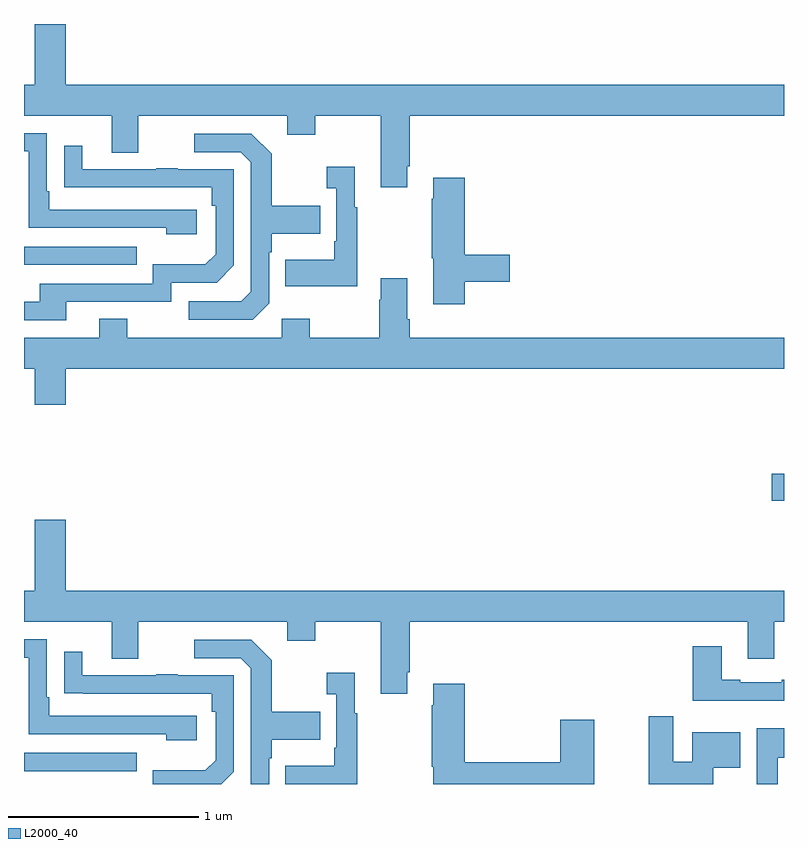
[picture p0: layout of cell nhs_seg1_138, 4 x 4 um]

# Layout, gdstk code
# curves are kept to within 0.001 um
import gdstk
lib = gdstk.Library(unit=1e-6, precision=1e-09)
def R(c, l, rs):  # rectangles x0, y0, x1, y1
    for r in rs: c.add(gdstk.rectangle(r[:2], r[2:], *l))
def P(c, l, *ps):  # polygons
    for p in ps: c.add(gdstk.Polygon(p, *l))
L2000_40 = (2000, 40)

nhs_seg1_138 = lib.new_cell('nhs_seg1_138')
R(nhs_seg1_138, L2000_40, [(117,564.267,117.593,564.363), (120.936,565.69,121,565.832), (117,566.931,117.593,567.027)])
P(nhs_seg1_138, L2000_40, [(119.017,567.451),(119.03,567.451),(119.03,567.716),(121,567.716),(121,567.88),(117.22,567.88),(117.22,568.199),(117.056,568.199),(117.056,567.88),(117,567.88),(117,567.716),(117.461,567.716),(117.461,567.522),(117.601,567.522),(117.601,567.716),(118.385,567.716),(118.385,567.617),(118.533,567.617),(118.533,567.716),(118.877,567.716),(118.877,567.339),(119.017,567.339)],
  [(117.91,567.222),(117.133,567.222),(117.133,567.319),(117.12,567.319),(117.12,567.624),(117,567.624),(117,567.528),(117.024,567.528),(117.024,567.126),(117.749,567.126),(117.749,567.092),(117.91,567.092)],
  [(118.29,566.73),(118.29,566.999),(118.303,566.999),(118.303,567.095),(118.559,567.095),(118.559,567.243),(118.303,567.243),(118.303,567.515),(118.197,567.621),(117.897,567.621),(117.897,567.525),(118.14,567.525),(118.194,567.471),(118.194,566.79),(118.143,566.739),(117.867,566.739),(117.867,566.643),(118.203,566.643)],
  [(117.223,566.736),(117.774,566.736),(117.774,566.838),(118.014,566.838),(118.104,566.928),(118.104,567.435),(117.809,567.435),(117.809,567.44),(117.697,567.44),(117.697,567.435),(117.307,567.435),(117.307,567.559),(117.211,567.559),(117.211,567.34),(117.988,567.339),(117.988,567.242),(118.008,567.242),(118.008,566.988),(117.955,566.935),(117.678,566.935),(117.678,566.832),(117.083,566.832),(117.083,566.736),(117,566.736),(117,566.64),(117.223,566.64)],
  [(118.753,567.235),(118.741,567.235),(118.741,567.448),(118.593,567.448),(118.593,567.335),(118.644,567.335),(118.644,567.055),(118.632,567.055),(118.632,566.959),(118.375,566.959),(118.375,566.819),(118.753,566.819)],
  [(119.321,566.842),(119.557,566.842),(119.557,566.984),(119.321,566.984),(119.321,567.391),(119.153,567.391),(119.153,567.278),(119.146,567.278),(119.146,566.967),(119.153,566.967),(119.153,566.724),(119.321,566.724)],
  [(117.22,566.384),(121,566.384),(121,566.548),(119.03,566.548),(119.03,566.644),(119.017,566.644),(119.017,566.86),(118.877,566.86),(118.877,566.747),(118.87,566.747),(118.87,566.548),(118.503,566.548),(118.503,566.647),(118.356,566.647),(118.356,566.548),(117.543,566.548),(117.543,566.647),(117.395,566.647),(117.395,566.548),(117,566.548),(117,566.384),(117.056,566.384),(117.056,566.196),(117.22,566.196)],
  [(119.017,564.787),(119.03,564.787),(119.03,565.052),(120.809,565.052),(120.809,564.858),(120.949,564.858),(120.949,565.052),(121,565.052),(121,565.216),(117.22,565.216),(117.22,565.591),(117.056,565.591),(117.056,565.216),(117,565.216),(117,565.052),(117.461,565.052),(117.461,564.858),(117.601,564.858),(117.601,565.052),(118.385,565.052),(118.385,564.953),(118.533,564.953),(118.533,565.052),(118.877,565.052),(118.877,564.675),(119.017,564.675)],
  [(117.91,564.558),(117.133,564.558),(117.133,564.655),(117.12,564.655),(117.12,564.96),(117,564.96),(117,564.864),(117.024,564.864),(117.024,564.462),(117.749,564.462),(117.749,564.428),(117.91,564.428)],
  [(118.29,564.335),(118.303,564.335),(118.303,564.431),(118.559,564.431),(118.559,564.579),(118.303,564.579),(118.303,564.851),(118.197,564.957),(117.897,564.957),(117.897,564.861),(118.14,564.861),(118.194,564.807),(118.194,564.199),(118.29,564.199)],
  [(121,564.748),(120.989,564.748),(120.989,564.735),(120.769,564.735),(120.769,564.748),(120.673,564.748),(120.673,564.925),(120.521,564.925),(120.521,564.638),(121,564.638)],
  [(118.104,564.264),(118.104,564.771),(117.809,564.771),(117.809,564.776),(117.697,564.776),(117.697,564.771),(117.307,564.771),(117.307,564.895),(117.211,564.895),(117.211,564.676),(117.988,564.675),(117.988,564.578),(118.008,564.578),(118.008,564.324),(117.955,564.271),(117.678,564.271),(117.678,564.199),(118.039,564.199)],
  [(118.753,564.571),(118.741,564.571),(118.741,564.784),(118.593,564.784),(118.593,564.671),(118.644,564.671),(118.644,564.391),(118.632,564.391),(118.632,564.295),(118.375,564.295),(118.375,564.199),(118.753,564.199)],
  [(120,564.538),(119.822,564.538),(119.822,564.314),(119.321,564.314),(119.321,564.727),(119.153,564.727),(119.153,564.614),(119.146,564.614),(119.146,564.291),(119.153,564.291),(119.153,564.199),(120,564.199)],
  [(120.628,564.284),(120.769,564.284),(120.769,564.472),(120.518,564.472),(120.518,564.315),(120.418,564.315),(120.418,564.556),(120.289,564.556),(120.289,564.199),(120.628,564.199)],
  [(120.967,564.337),(121,564.337),(121,564.493),(120.857,564.493),(120.857,564.199),(120.967,564.199)])

lib.write_gds('nhs_seg1_138.gds')
